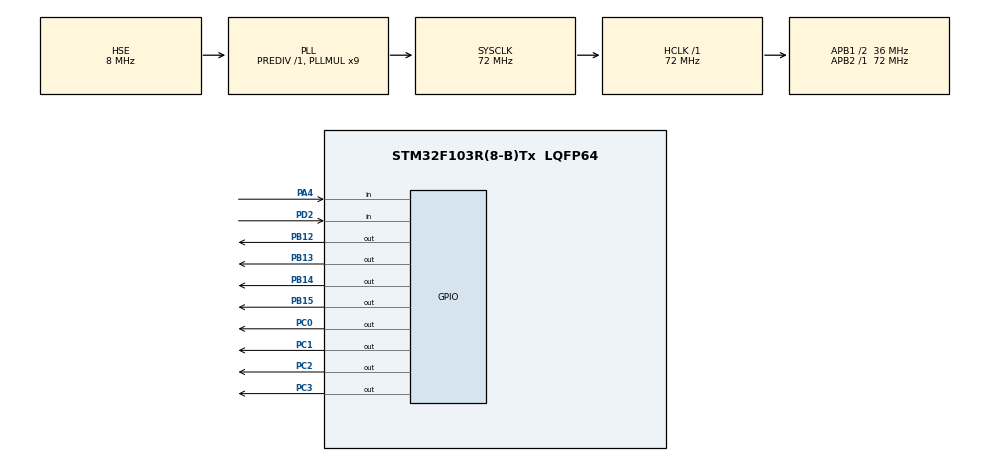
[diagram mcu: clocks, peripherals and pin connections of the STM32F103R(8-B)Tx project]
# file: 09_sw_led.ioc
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Mcu.Family=STM32F1
Mcu.Name=STM32F103R(8-B)Tx
Mcu.Package=LQFP64
NVIC.PriorityGroup=NVIC_PRIORITYGROUP_4
PA4.Signal=GPIO_Input
PB12.Signal=GPIO_Output
PB13.Signal=GPIO_Output
PB14.Signal=GPIO_Output
PB15.Signal=GPIO_Output
PC0.Signal=GPIO_Output
PC1.Signal=GPIO_Output
PC14-OSC32_IN.Mode=LSE-External-Oscillator
PC14-OSC32_IN.Signal=RCC_OSC32_IN
PC15-OSC32_OUT.Mode=LSE-External-Oscillator
PC15-OSC32_OUT.Signal=RCC_OSC32_OUT
PC2.Signal=GPIO_Output
PC3.Signal=GPIO_Output
PD0-OSC_IN.Mode=HSE-External-Clock-Source
PD0-OSC_IN.Signal=RCC_OSC_IN
PD1-OSC_OUT.Mode=HSE-External-Clock-Source
PD1-OSC_OUT.Signal=RCC_OSC_OUT
PD2.Signal=GPIO_Input
ProjectManager.HeapSize=0x200
ProjectManager.StackSize=0x400
ProjectManager.TargetToolchain=STM32CubeIDE
RCC.AHBFreq_Value=72000000
RCC.APB1CLKDivider=RCC_HCLK_DIV2
RCC.APB1Freq_Value=36000000
RCC.APB1TimFreq_Value=72000000
RCC.APB2Freq_Value=72000000
RCC.APB2TimFreq_Value=72000000
RCC.HCLKFreq_Value=72000000
RCC.PLLMUL=RCC_PLL_MUL9
RCC.PLLSourceVirtual=RCC_PLLSOURCE_HSE
RCC.SYSCLKFreq_VALUE=72000000
RCC.SYSCLKSource=RCC_SYSCLKSOURCE_PLLCLK
RCC.USBFreq_Value=72000000
board=custom

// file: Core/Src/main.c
/* USER CODE BEGIN Header */
/**
 ******************************************************************************
 * @file           : main.c
 * @brief          : Main program body
 ******************************************************************************
 * @attention
 *
 * Copyright (c) 2023 STMicroelectronics.
 * All rights reserved.
 *
 * This software is licensed under terms that can be found in the LICENSE file
 * in the root directory of this software component.
 * If no LICENSE file comes with this software, it is provided AS-IS.
 *
 ******************************************************************************
 */
/* USER CODE END Header */
#include "main.h"

/* USER CODE BEGIN PD */
#define LED_OFF 0
#define LED_ON 1
/* USER CODE END PD */

/* USER CODE BEGIN PV */
uint8_t led_state = LED_OFF;
/* USER CODE END PV */

void SystemClock_Config(void);
static void MX_GPIO_Init(void);

int main(void) {

	/* MCU Configuration--------------------------------------------------------*/

	/* Reset of all peripherals, Initializes the Flash interface and the Systick. */
	HAL_Init();

	/* Configure the system clock */
	SystemClock_Config();

	/* Initialize all configured peripherals */
	MX_GPIO_Init();
	/* USER CODE BEGIN 2 */
	typedef struct led {
		GPIO_TypeDef *port;
		uint16_t pin;
	} LED;
	LED led[8] = {
			  {GPIOC, GPIO_PIN_3}, {GPIOC, GPIO_PIN_2},
			  {GPIOC, GPIO_PIN_1}, {GPIOC, GPIO_PIN_0},
			  {GPIOB, GPIO_PIN_15}, {GPIOB, GPIO_PIN_14},
			  {GPIOB, GPIO_PIN_13}, {GPIOB, GPIO_PIN_12}
	 };
	void led_on_off(uint8_t add_num, uint8_t on_off){
		for (uint8_t i = 0; i < 4; i++)
			HAL_GPIO_WritePin(led[i+add_num].port, led[i+add_num].pin, on_off);
	}
	/* USER CODE END 2 */

	/* Infinite loop */
	/* USER CODE BEGIN WHILE */
	uint8_t i = 7;
	while (1) {

#if 0
		if(!HAL_GPIO_ReadPin(GPIOD, GPIO_PIN_2)){
			HAL_Delay(100);
			if(!HAL_GPIO_ReadPin(GPIOD, GPIO_PIN_2)){
				HAL_GPIO_WritePin(led[i].port, led[i].pin, GPIO_PIN_SET);
				if(i>0) i--;
			}
		}
		if(!HAL_GPIO_ReadPin(GPIOA, GPIO_PIN_4)){
			HAL_Delay(100);
			if(!HAL_GPIO_ReadPin(GPIOA, GPIO_PIN_4)){
				HAL_GPIO_WritePin(led[i].port, led[i].pin, GPIO_PIN_RESET);
				if(i<7) i++;
			}
		}
#endif

#if 0
		if(!HAL_GPIO_ReadPin(GPIOD, GPIO_PIN_2)){
			HAL_Delay(100);
			if(!HAL_GPIO_ReadPin(GPIOD, GPIO_PIN_2)){
				if(led_state == LED_ON){
					HAL_GPIO_WritePin(led[3].port, led[3].pin, GPIO_PIN_RESET);
					HAL_GPIO_WritePin(led[4].port, led[4].pin, GPIO_PIN_RESET);
					led_state = LED_OFF;
				} else {

					HAL_GPIO_WritePin(led[3].port, led[3].pin, GPIO_PIN_SET);
					HAL_GPIO_WritePin(led[4].port, led[4].pin, GPIO_PIN_SET);
					led_state = LED_ON;
				}
			}
		}
#endif

#if 1
		if (!HAL_GPIO_ReadPin(GPIOA, GPIO_PIN_4)) {
			led_on_off(0, 1);
		} else {
			led_on_off(0, 0);
		}
		if (!HAL_GPIO_ReadPin(GPIOD, GPIO_PIN_2)) {
			led_on_off(4, 1);
		} else {
			led_on_off(4, 0);
		}
#endif

#if 0

		if (!HAL_GPIO_ReadPin(GPIOA, GPIO_PIN_4)) {
			for (uint8_t i = 0; i < 4; i++)
				HAL_GPIO_WritePin(led[i].port, led[i].pin, GPIO_PIN_SET);
		} else {
			for (uint8_t i = 0; i < 4; i++)
				HAL_GPIO_WritePin(led[i].port, led[i].pin, GPIO_PIN_RESET);
		}
		if (!HAL_GPIO_ReadPin(GPIOD, GPIO_PIN_2)) {
			for (uint8_t i = 4; i < 8; i++)
				HAL_GPIO_WritePin(led[i].port, led[i].pin, GPIO_PIN_SET);
		} else {
			for (uint8_t i = 4; i < 8; i++)
				HAL_GPIO_WritePin(led[i].port, led[i].pin, GPIO_PIN_RESET);
		}
#endif

#if 0
	  if(!HAL_GPIO_ReadPin(GPIOD, GPIO_PIN_2)){
		  HAL_GPIO_WritePin(GPIOC, GPIO_PIN_3, GPIO_PIN_SET);
		  HAL_GPIO_WritePin(GPIOB, GPIO_PIN_12, GPIO_PIN_SET);
	  } else {
		  HAL_GPIO_WritePin(GPIOC, GPIO_PIN_3, GPIO_PIN_RESET);
		  HAL_GPIO_WritePin(GPIOB, GPIO_PIN_12, GPIO_PIN_RESET);
	  }
#endif

		/* USER CODE END WHILE */

	}
}

void SystemClock_Config(void) {
	RCC_OscInitTypeDef RCC_OscInitStruct = { 0 };
	RCC_ClkInitTypeDef RCC_ClkInitStruct = { 0 };

	/** Initializes the RCC Oscillators according to the specified parameters
	 * in the RCC_OscInitTypeDef structure.
	 */
	RCC_OscInitStruct.OscillatorType = RCC_OSCILLATORTYPE_HSE;
	RCC_OscInitStruct.HSEState = RCC_HSE_BYPASS;
	RCC_OscInitStruct.HSEPredivValue = RCC_HSE_PREDIV_DIV1;
	RCC_OscInitStruct.HSIState = RCC_HSI_ON;
	RCC_OscInitStruct.PLL.PLLState = RCC_PLL_ON;
	RCC_OscInitStruct.PLL.PLLSource = RCC_PLLSOURCE_HSE;
	RCC_OscInitStruct.PLL.PLLMUL = RCC_PLL_MUL9;
	if (HAL_RCC_OscConfig(&RCC_OscInitStruct) != HAL_OK) {
		Error_Handler();
	}

	/** Initializes the CPU, AHB and APB buses clocks
	 */
	RCC_ClkInitStruct.ClockType = RCC_CLOCKTYPE_HCLK | RCC_CLOCKTYPE_SYSCLK
			| RCC_CLOCKTYPE_PCLK1 | RCC_CLOCKTYPE_PCLK2;
	RCC_ClkInitStruct.SYSCLKSource = RCC_SYSCLKSOURCE_PLLCLK;
	RCC_ClkInitStruct.AHBCLKDivider = RCC_SYSCLK_DIV1;
	RCC_ClkInitStruct.APB1CLKDivider = RCC_HCLK_DIV2;
	RCC_ClkInitStruct.APB2CLKDivider = RCC_HCLK_DIV1;

	if (HAL_RCC_ClockConfig(&RCC_ClkInitStruct, FLASH_LATENCY_2) != HAL_OK) {
		Error_Handler();
	}
}

static void MX_GPIO_Init(void) {
	GPIO_InitTypeDef GPIO_InitStruct = { 0 };

	/* GPIO Ports Clock Enable */
	__HAL_RCC_GPIOC_CLK_ENABLE();
	__HAL_RCC_GPIOD_CLK_ENABLE();
	__HAL_RCC_GPIOA_CLK_ENABLE();
	__HAL_RCC_GPIOB_CLK_ENABLE();

	/*Configure GPIO pin Output Level */
	HAL_GPIO_WritePin(GPIOC, GPIO_PIN_0 | GPIO_PIN_1 | GPIO_PIN_2 | GPIO_PIN_3,
			GPIO_PIN_RESET);

	/*Configure GPIO pin Output Level */
	HAL_GPIO_WritePin(GPIOB,
			GPIO_PIN_12 | GPIO_PIN_13 | GPIO_PIN_14 | GPIO_PIN_15,
			GPIO_PIN_RESET);

	/*Configure GPIO pins : PC0 PC1 PC2 PC3 */
	GPIO_InitStruct.Pin = GPIO_PIN_0 | GPIO_PIN_1 | GPIO_PIN_2 | GPIO_PIN_3;
	GPIO_InitStruct.Mode = GPIO_MODE_OUTPUT_PP;
	GPIO_InitStruct.Pull = GPIO_NOPULL;
	GPIO_InitStruct.Speed = GPIO_SPEED_FREQ_LOW;
	HAL_GPIO_Init(GPIOC, &GPIO_InitStruct);

	/*Configure GPIO pin : PA4 */
	GPIO_InitStruct.Pin = GPIO_PIN_4;
	GPIO_InitStruct.Mode = GPIO_MODE_INPUT;
	GPIO_InitStruct.Pull = GPIO_NOPULL;
	HAL_GPIO_Init(GPIOA, &GPIO_InitStruct);

	/*Configure GPIO pins : PB12 PB13 PB14 PB15 */
	GPIO_InitStruct.Pin = GPIO_PIN_12 | GPIO_PIN_13 | GPIO_PIN_14 | GPIO_PIN_15;
	GPIO_InitStruct.Mode = GPIO_MODE_OUTPUT_PP;
	GPIO_InitStruct.Pull = GPIO_NOPULL;
	GPIO_InitStruct.Speed = GPIO_SPEED_FREQ_LOW;
	HAL_GPIO_Init(GPIOB, &GPIO_InitStruct);

	/*Configure GPIO pin : PD2 */
	GPIO_InitStruct.Pin = GPIO_PIN_2;
	GPIO_InitStruct.Mode = GPIO_MODE_INPUT;
	GPIO_InitStruct.Pull = GPIO_NOPULL;
	HAL_GPIO_Init(GPIOD, &GPIO_InitStruct);

}

void Error_Handler(void) {
	__disable_irq();
	while (1) {
	}
}
